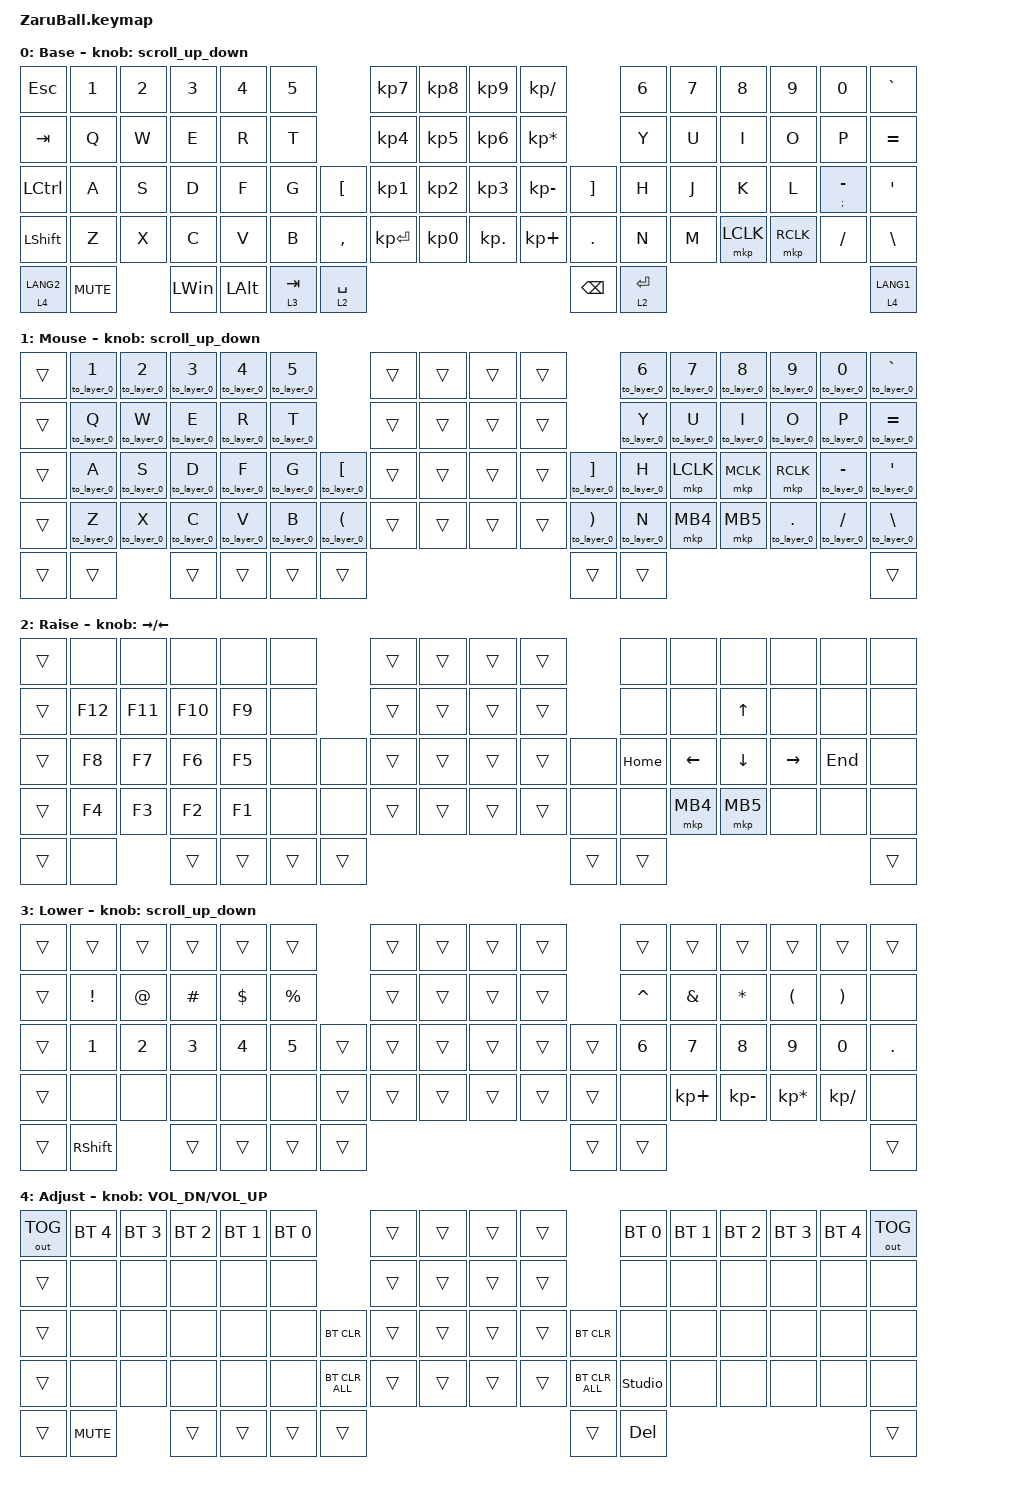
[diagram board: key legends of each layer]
//#include <dt-bindings/zmk/mouse.h>

#include <behaviors/rgbled_widget.dtsi>
#include <input/processors.dtsi>
#include <dt-bindings/zmk/input_transform.h>
#include <behaviors.dtsi>
#include <dt-bindings/zmk/bt.h>
#include <dt-bindings/zmk/keys.h>
#include <dt-bindings/zmk/outputs.h>
#include <dt-bindings/zmk/pointing.h>

#define BASE     0
#define MOUSE    1
#define LOWER    2
#define RAISE    3
#define ADJUST   4
#define SCROLL   2

// スクロール量の設定

#define ZMK_POINTING_DEFAULT_SCRL_VAL 100

&trackball_listener {
    input-processors = <
                         &zip_xy_transform (INPUT_TRANSFORM_XY_SWAP | INPUT_TRANSFORM_Y_INVERT | INPUT_TRANSFORM_X_INVERT)
                         // &zip_temp_layer MOUSE 500
    >;

    scroller {
        layers = <SCROLL>;
        input-processors = <
                            &zip_xy_transform (INPUT_TRANSFORM_XY_SWAP | INPUT_TRANSFORM_X_INVERT)
                            &zip_xy_scaler 1 20
                            &zip_xy_to_scroll_mapper
        >;
    };
};

/ {
    conditional_layers {
        compatible = "zmk,conditional-layers";

        tri_layer {
            if-layers = <3 2>;
            then-layer = <5>;
        };
    };
};

/ {
    behaviors {
        // スクロール用のbehaviorの設定

        scroll_down_up: behavior_sensor_rotate_mouse_wheel_down_up {
            compatible = "zmk,behavior-sensor-rotate";
            #sensor-binding-cells = <0>;
            bindings = <&msc SCRL_DOWN>, <&msc SCRL_UP>;

            tap-ms = <20>; // スクロールのタップ時間
        };

        td0: tap_dance_0 {
            compatible = "zmk,behavior-tap-dance";
            #binding-cells = <0>;
            tapping-term-ms = <200>;
            bindings = <&mt LALT LANG2>, <&mo RAISE>, <&mo MOUSE>;
        };

        td1: tap_dance_1 {
            compatible = "zmk,behavior-tap-dance";
            #binding-cells = <0>;
            tapping-term-ms = <200>;
            bindings = <&mt RCTL LANG1>, <&mo RAISE>, <&mo MOUSE>;
        };

        // Customed Hold-Tap for SandS

        SandS: SandS {
            compatible = "zmk,behavior-hold-tap";
            #binding-cells = <2>;
            flavor = "tap-unless-interrupted";
            tapping-term-ms = <500>;
            quick-tap-ms = <500>;
            bindings = <&kp>, <&kp>;

            display-name = "SandS";
        };

        scroll_up_down: scroll_up_down {
            compatible = "zmk,behavior-sensor-rotate";
            #sensor-binding-cells = <0>;
            bindings = <&msc SCRL_UP>, <&msc SCRL_DOWN>;

            tap-ms = <20>;
            label = "SCROLL_UP_DOWN";
        };
    };
};

&sl { release-after-ms = <250>; }; // time needed for double click (for mkp_exit_AML)
/ {
    macros {
        // When in AML, move to default layer when key (except mouse button) pressed

        to_layer_0: to_layer_0 {
            compatible = "zmk,behavior-macro-one-param";
            #binding-cells = <1>;
            bindings = <&tog MOUSE &macro_param_1to1 &kp MACRO_PLACEHOLDER>;
            label = "TO_layer_0";
        };

        // When LCLK pressed, exit AML (after 250ms cause by sticky layer

        mkp_exit_AML: mkp_exit_AML {
            compatible = "zmk,behavior-macro-one-param";
            #binding-cells = <1>;
            bindings =
                <&macro_press>,
                <&macro_param_1to1 &mkp MACRO_PLACEHOLDER>,
                <&macro_pause_for_release>,
                <&macro_release>,
                <&macro_param_1to1 &mkp MACRO_PLACEHOLDER>,
                <&macro_tap>,
                <&sl MOUSE>;

            label = "MKP_EXIT_AML";
        };
    };
};

/ {
    combos {
        compatible = "zmk,combos";

        middle_click {
            bindings = <&mkp MCLK>;
            key-positions = <64 65>;
        };

        prev_click {
            bindings = <&mkp MB4>;
            key-positions = <63 64>;
        };

        next_click {
            bindings = <&mkp MB5>;
            key-positions = <65 66>;
        };
    };

    keymap {
        compatible = "zmk,keymap";

        base_layer {
            display-name = "Base";
            sensor-bindings = <&scroll_up_down>;
            bindings = <
&kp ESC      &kp N1      &kp N2  &kp N3    &kp N4        &kp N5                         &kp KP_N7     &kp KP_N8  &kp KP_N9   &kp KP_DIVIDE                         &kp NUMBER_6  &kp N7  &kp N8     &kp N9     &kp N0          &kp GRAVE
&kp TAB      &kp Q       &kp W   &kp E     &kp R         &kp T                          &kp KP_N4     &kp KP_N5  &kp KP_N6   &kp KP_MULTIPLY                       &kp Y         &kp U   &kp I      &kp O      &kp P           &kp EQUAL
&kp LCTRL    &kp A       &kp S   &kp D     &kp F         &kp G      &kp LEFT_BRACKET    &kp KP_N1     &kp KP_N2  &kp KP_N3   &kp KP_MINUS       &kp RIGHT_BRACKET  &kp H         &kp J   &kp K      &kp L      &mt SEMI MINUS  &kp SQT
&kp LSHFT    &kp Z       &kp X   &kp C     &kp V         &kp B      &kp COMMA           &kp KP_ENTER  &kp KP_N0  &kp KP_DOT  &kp KP_PLUS        &kp PERIOD         &kp N         &kp M   &mkp LCLK  &mkp RCLK  &kp FSLH        &kp BACKSLASH
&lt 4 LANG2  &kp C_MUTE          &kp LWIN  &kp LEFT_ALT  &lt 3 TAB  &lt 2 SPACE                                                                 &kp BACKSPACE      &lt 2 ENTER                                                 &lt 4 LANG1
            >;
        };

        mouse_layer {
            display-name = "Mouse";
            sensor-bindings = <&scroll_up_down>;
            bindings = <
&trans  &to_layer_0 N1  &to_layer_0 N2  &to_layer_0 N3  &to_layer_0 N4  &to_layer_0 N5                                  &trans  &trans  &trans  &trans                                   &to_layer_0 N6  &to_layer_0 N7  &to_layer_0 N8  &to_layer_0 N9      &to_layer_0 N0     &to_layer_0 GRAVE
&trans  &to_layer_0 Q   &to_layer_0 W   &to_layer_0 E   &to_layer_0 R   &to_layer_0 T                                   &trans  &trans  &trans  &trans                                   &to_layer_0 Y   &to_layer_0 U   &to_layer_0 I   &to_layer_0 O       &to_layer_0 P      &to_layer_0 EQUAL
&trans  &to_layer_0 A   &to_layer_0 S   &to_layer_0 D   &to_layer_0 F   &to_layer_0 G   &to_layer_0 LEFT_BRACKET        &trans  &trans  &trans  &trans    &to_layer_0 RIGHT_BRACKET      &to_layer_0 H   &mkp LCLK       &mkp MCLK       &mkp RCLK           &to_layer_0 MINUS  &to_layer_0 SINGLE_QUOTE
&trans  &to_layer_0 Z   &to_layer_0 X   &to_layer_0 C   &to_layer_0 V   &to_layer_0 B   &to_layer_0 LEFT_PARENTHESIS    &trans  &trans  &trans  &trans    &to_layer_0 RIGHT_PARENTHESIS  &to_layer_0 N   &mkp MB4        &mkp MB5        &to_layer_0 PERIOD  &to_layer_0 SLASH  &to_layer_0 BACKSLASH
&trans  &trans                          &trans          &trans          &trans          &trans                                                            &trans                         &trans                                                                                 &trans
            >;
        };

        raise_layer {
            display-name = "Raise";
            sensor-bindings = <&inc_dec_kp RIGHT LEFT>;
            bindings = <
&trans  &none    &none    &none    &none   &none             &trans  &trans  &trans  &trans            &none     &none     &none         &none      &none    &none
&trans  &kp F12  &kp F11  &kp F10  &kp F9  &none             &trans  &trans  &trans  &trans            &none     &none     &kp UP_ARROW  &none      &none    &none
&trans  &kp F8   &kp F7   &kp F6   &kp F5  &none   &none     &trans  &trans  &trans  &trans    &none   &kp HOME  &kp LEFT  &kp DOWN      &kp RIGHT  &kp END  &none
&trans  &kp F4   &kp F3   &kp F2   &kp F1  &none   &none     &trans  &trans  &trans  &trans    &none   &none     &mkp MB4  &mkp MB5      &none      &none    &none
&trans  &none             &trans   &trans  &trans  &trans                                      &trans  &trans                                                &trans
            >;
        };

        lower_layer {
            display-name = "Lower";
            sensor-bindings = <&scroll_up_down>;
            bindings = <
&trans  &trans           &trans       &trans    &trans      &trans                 &trans  &trans  &trans  &trans            &trans     &trans         &trans        &trans                &trans                 &trans
&trans  &kp EXCLAMATION  &kp AT_SIGN  &kp HASH  &kp DOLLAR  &kp PERCENT            &trans  &trans  &trans  &trans            &kp CARET  &kp AMPERSAND  &kp ASTERISK  &kp LEFT_PARENTHESIS  &kp RIGHT_PARENTHESIS  &none
&trans  &kp N1           &kp N2       &kp N3    &kp N4      &kp N5       &trans    &trans  &trans  &trans  &trans    &trans  &kp N6     &kp N7         &kp N8        &kp N9                &kp N0                 &kp DOT
&trans  &none            &none        &none     &none       &none        &trans    &trans  &trans  &trans  &trans    &trans  &none      &kp KP_PLUS    &kp KP_MINUS  &kp KP_MULTIPLY       &kp KP_DIVIDE          &none
&trans  &kp RSHFT                     &trans    &trans      &trans       &trans                                      &trans  &trans                                                                               &trans
            >;
        };

        adjust_layer {
            display-name = "Adjust";
            sensor-bindings = <&inc_dec_kp C_VOL_DN C_VOL_UP>;
            bindings = <
&out OUT_TOG  &bt BT_SEL 4  &bt BT_SEL 3  &bt BT_SEL 2  &bt BT_SEL 1  &bt BT_SEL 0                    &trans  &trans  &trans  &trans                    &bt BT_SEL 0    &bt BT_SEL 1  &bt BT_SEL 2  &bt BT_SEL 3  &bt BT_SEL 4  &out OUT_TOG
&trans        &none         &none         &none         &none         &none                           &trans  &trans  &trans  &trans                    &none           &none         &none         &none         &none         &none
&trans        &none         &none         &none         &none         &none         &bt BT_CLR        &trans  &trans  &trans  &trans    &bt BT_CLR      &none           &none         &none         &none         &none         &none
&trans        &none         &none         &none         &none         &none         &bt BT_CLR_ALL    &trans  &trans  &trans  &trans    &bt BT_CLR_ALL  &studio_unlock  &none         &none         &none         &none         &none
&trans        &kp C_MUTE                  &trans        &trans        &trans        &trans                                              &trans          &kp DEL                                                                 &trans
            >;
        };

        // Extra layer can be added in ZMK STUDIO

        extra1 { status = "reserved"; };

        extra2 { status = "reserved"; };
    };
};
